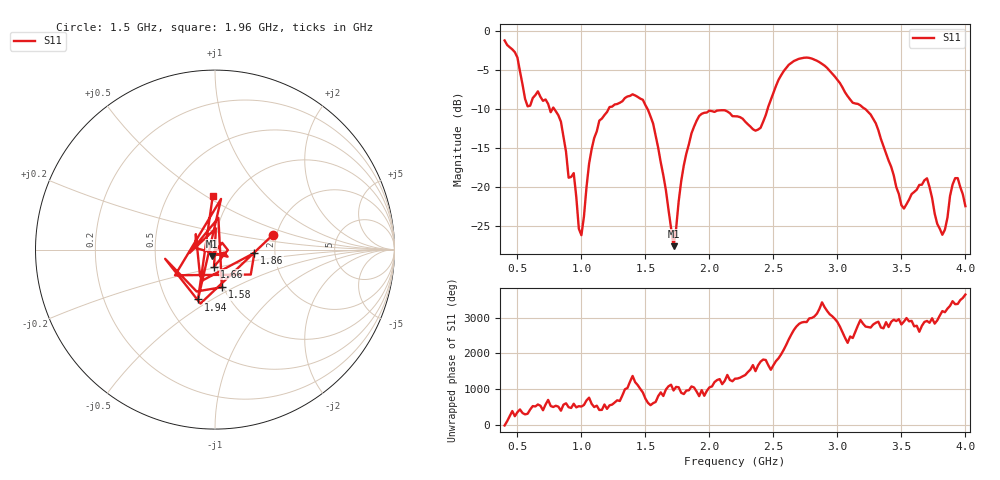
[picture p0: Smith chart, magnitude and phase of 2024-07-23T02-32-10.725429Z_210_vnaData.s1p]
!Created with skrf (http://scikit-rf.org).
# Hz S RI R 50.0
!freq ReS11 ImS11
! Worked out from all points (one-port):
!   181 points, 400 MHz to 4 GHz, reference 50 ohm
!   lowest |S11| = -27.6 dB at 1.72 GHz (marker M1), VSWR 1.09, Z = 48 - j3.55 ohm
!   |S11| at or under -10 dB: 786.5 MHz to 1.213 GHz (426.6 MHz wide, 42.7 % of centre); 1.516 GHz to 2.455 GHz (939.7 MHz wide, 47.3 % of centre); 3.214 GHz to end of sweep (the widest 3 of 4)
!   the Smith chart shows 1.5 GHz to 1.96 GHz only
!   S11 on the Smith chart (normalised r, x): 1.5 GHz: 1.91, +0.36; 1.58 GHz: 0.99, -0.43; 1.66 GHz: 0.97, -0.19; 1.86 GHz: 1.56, -0.06; 1.94 GHz: 0.72, -0.44; 1.96 GHz: 0.82, +0.53
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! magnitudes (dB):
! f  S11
! 400 MHz  -1.3
! 580 MHz  -9.7
! 660 MHz  -7.8
! 860 MHz  -13.6
! 900 MHz  -18.8
! 940 MHz  -18.2
! 1 GHz  -26.2
! 1.1 GHz  -13.7
! 1.3 GHz  -9.2
! 1.5 GHz  -9.5
! 1.58 GHz  -13.4
! 1.66 GHz  -20.4
! 1.72 GHz  -27.6
! 1.76 GHz  -21.9
! 1.86 GHz  -13.1
! 1.94 GHz  -10.6
! 1.96 GHz  -10.5
! 2.2 GHz  -11.0
! 2.4 GHz  -12.4
! 2.66 GHz  -3.9
! 3.1 GHz  -8.8
! 3.28 GHz  -11.3
! 3.5 GHz  -22.3
! 3.56 GHz  -21.6
! 3.7 GHz  -18.9
! 3.82 GHz  -26.1
! 3.92 GHz  -18.9
! 4 GHz  -22.5
